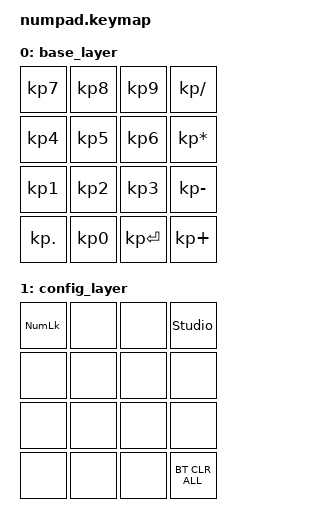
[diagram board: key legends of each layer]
#include <behaviors.dtsi>
#include <dt-bindings/zmk/keys.h>
#include <dt-bindings/zmk/bt.h>


/ {    
    combos {
        compatible = "zmk,combos";
        
        combo_activate_layer_2 {
            timeout-ms = <50>;
            key-positions = <12 14>;
            bindings = <&mo 1>;
        };
    };
    
    keymap {
        compatible = "zmk,keymap";
            
        base_layer {
            display-name = "base_layer";
            bindings = < 
                &kp KP_N7     &kp KP_N8    &kp KP_N9       &kp KP_DIVIDE  
                &kp KP_N4     &kp KP_N5    &kp KP_N6       &kp KP_MULTIPLY  
                &kp KP_N1     &kp KP_N2    &kp KP_N3       &kp KP_MINUS    
                &kp KP_DOT    &kp KP_N0    &kp KP_ENTER    &kp KP_PLUS    
            >;
        }; 
        
        macro_layer_1 {
            display-name = "config_layer";
            bindings = <
                &kp KP_NUMLOCK    &none    &none    &studio_unlock   
                &none             &none    &none    &none    
                &none             &none    &none    &none    
                &none             &none    &none    &bt BT_CLR_ALL
            >;
        };  
        
        extra_layer_2 {
            status = "reserved";
        };
        
        extra_layer_3 {
            status = "reserved";
        };
        extra_layer_4 {
            status = "reserved";
        };
        
        extra_layer_3 {
            status = "reserved";
        };

    };
};
